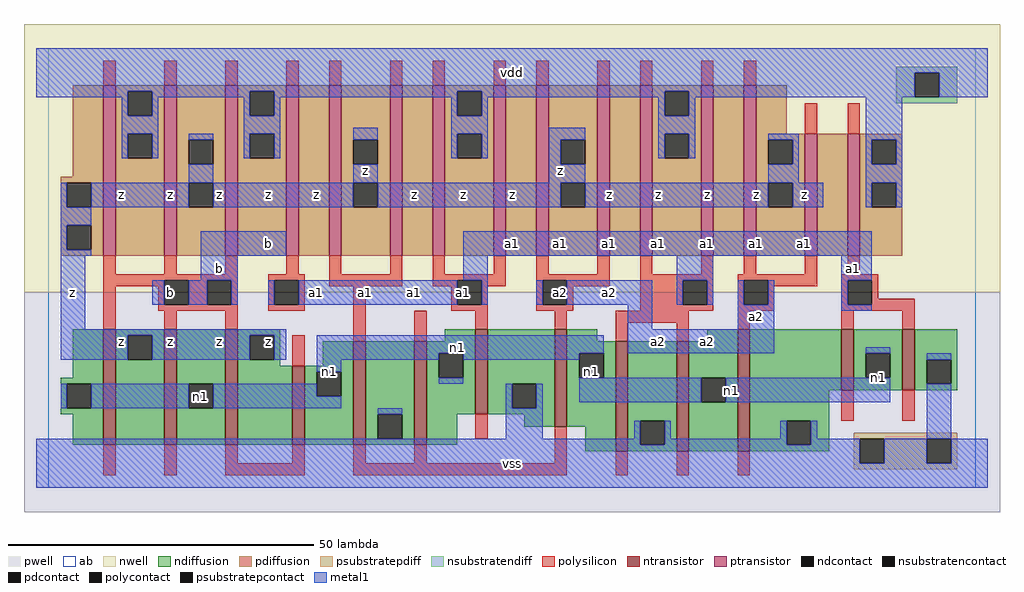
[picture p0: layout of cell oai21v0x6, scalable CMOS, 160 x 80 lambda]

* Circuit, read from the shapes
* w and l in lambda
.subckt oai21v0x6 a1 a2 b n1 vdd vss z
M1 z b n1 vss nfet w=19 l=2 m=3
M2 n1 b z vss nfet w=13 l=2
M3 vss a2 n1 vss nfet w=17 l=2 m=2
M4 vss a1 n1 vss nfet w=14 l=2
M5 n1 a2 vss vss nfet w=16 l=2
M6 vss a1 n1 vss nfet w=18 l=2 m=2
M7 vss a2 n1 vss nfet w=20 l=2
M8 n1 a1 vss vss nfet w=10 l=2 m=2
M9 vdd b z vdd pfet w=28 l=2 m=3
M10 n2 a1 vdd vdd pfet w=28 l=2
M11 z a2 n2 vdd pfet w=28 l=2
M12 n3 a2 z vdd pfet w=28 l=2
M13 vdd a1 n3 vdd pfet w=28 l=2
M14 n4 a1 vdd vdd pfet w=28 l=2
M15 z a2 n4 vdd pfet w=28 l=2
M16 n5 a2 z vdd pfet w=28 l=2
M17 vdd a1 n5 vdd pfet w=28 l=2
M18 n6 a1 vdd vdd pfet w=28 l=2
M19 z a2 n6 vdd pfet w=28 l=2
M20 n7 a2 z vdd pfet w=20 l=2
M21 vdd a1 n7 vdd pfet w=20 l=2
.ends

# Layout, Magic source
magic
tech scmos
<< ab >>
rect 0 0 152 72
<< pwell >>
rect -4 -4 156 32
<< nwell >>
rect -4 32 156 76
<< polysilicon >>
rect 9 66 11 70
rect 19 66 21 70
rect 29 66 31 70
rect 39 66 41 70
rect 46 66 48 70
rect 56 66 58 70
rect 63 66 65 70
rect 73 66 75 70
rect 80 66 82 70
rect 90 66 92 70
rect 97 66 99 70
rect 107 66 109 70
rect 114 66 116 70
rect 124 58 126 63
rect 131 58 133 63
rect 9 35 11 38
rect 19 35 21 38
rect 29 35 31 38
rect 39 35 41 38
rect 46 35 48 38
rect 56 35 58 38
rect 9 34 31 35
rect 9 33 19 34
rect 9 26 11 33
rect 18 30 19 33
rect 23 30 26 34
rect 30 30 31 34
rect 18 29 31 30
rect 36 34 42 35
rect 36 30 37 34
rect 41 30 42 34
rect 46 33 58 35
rect 63 35 65 38
rect 73 35 75 38
rect 63 34 75 35
rect 63 33 67 34
rect 36 29 42 30
rect 19 26 21 29
rect 29 26 31 29
rect 40 20 42 25
rect 50 24 52 33
rect 66 30 67 33
rect 71 33 75 34
rect 80 35 82 38
rect 90 35 92 38
rect 80 34 92 35
rect 71 30 72 33
rect 66 29 72 30
rect 80 30 81 34
rect 85 33 92 34
rect 97 35 99 38
rect 107 35 109 38
rect 114 35 116 38
rect 124 35 126 38
rect 131 35 133 38
rect 97 34 109 35
rect 85 30 86 33
rect 80 29 86 30
rect 97 30 104 34
rect 108 30 109 34
rect 97 29 109 30
rect 113 34 126 35
rect 113 30 114 34
rect 118 33 126 34
rect 130 34 136 35
rect 118 30 119 33
rect 113 29 119 30
rect 130 30 131 34
rect 135 31 136 34
rect 135 30 142 31
rect 130 29 142 30
rect 60 24 62 29
rect 70 26 72 29
rect 83 26 85 29
rect 93 27 105 29
rect 70 8 72 12
rect 93 24 95 27
rect 103 24 105 27
rect 113 26 115 29
rect 130 26 132 29
rect 140 26 142 29
rect 9 2 11 7
rect 19 2 21 7
rect 29 4 31 7
rect 40 4 42 7
rect 29 2 42 4
rect 50 4 52 7
rect 60 4 62 7
rect 83 4 85 10
rect 130 11 132 16
rect 140 11 142 16
rect 50 2 85 4
rect 93 2 95 6
rect 103 2 105 6
rect 113 2 115 6
<< ndiffusion >>
rect 4 18 9 26
rect 2 17 9 18
rect 2 13 3 17
rect 7 13 9 17
rect 2 12 9 13
rect 4 7 9 12
rect 11 25 19 26
rect 11 21 13 25
rect 17 21 19 25
rect 11 7 19 21
rect 21 17 29 26
rect 21 13 23 17
rect 27 13 29 17
rect 21 7 29 13
rect 31 25 38 26
rect 31 21 33 25
rect 37 21 38 25
rect 31 20 38 21
rect 65 24 70 26
rect 45 20 50 24
rect 31 7 40 20
rect 42 19 50 20
rect 42 15 44 19
rect 48 15 50 19
rect 42 7 50 15
rect 52 12 60 24
rect 52 8 54 12
rect 58 8 60 12
rect 52 7 60 8
rect 62 22 70 24
rect 62 18 64 22
rect 68 18 70 22
rect 62 12 70 18
rect 72 17 83 26
rect 72 13 76 17
rect 80 13 83 17
rect 72 12 83 13
rect 62 7 67 12
rect 78 10 83 12
rect 85 24 90 26
rect 108 24 113 26
rect 85 22 93 24
rect 85 18 87 22
rect 91 18 93 22
rect 85 10 93 18
rect 88 6 93 10
rect 95 11 103 24
rect 95 7 97 11
rect 101 7 103 11
rect 95 6 103 7
rect 105 18 113 24
rect 105 14 107 18
rect 111 14 113 18
rect 105 6 113 14
rect 115 16 130 26
rect 132 22 140 26
rect 132 18 134 22
rect 138 18 140 22
rect 132 16 140 18
rect 142 21 149 26
rect 142 17 144 21
rect 148 17 149 21
rect 142 16 149 17
rect 115 11 128 16
rect 115 7 121 11
rect 125 7 128 11
rect 115 6 128 7
<< pdiffusion >>
rect 4 51 9 66
rect 2 50 9 51
rect 2 46 3 50
rect 7 46 9 50
rect 2 43 9 46
rect 2 39 3 43
rect 7 39 9 43
rect 2 38 9 39
rect 11 65 19 66
rect 11 61 13 65
rect 17 61 19 65
rect 11 58 19 61
rect 11 54 13 58
rect 17 54 19 58
rect 11 38 19 54
rect 21 57 29 66
rect 21 53 23 57
rect 27 53 29 57
rect 21 50 29 53
rect 21 46 23 50
rect 27 46 29 50
rect 21 38 29 46
rect 31 65 39 66
rect 31 61 33 65
rect 37 61 39 65
rect 31 58 39 61
rect 31 54 33 58
rect 37 54 39 58
rect 31 38 39 54
rect 41 38 46 66
rect 48 57 56 66
rect 48 53 50 57
rect 54 53 56 57
rect 48 50 56 53
rect 48 46 50 50
rect 54 46 56 50
rect 48 38 56 46
rect 58 38 63 66
rect 65 65 73 66
rect 65 61 67 65
rect 71 61 73 65
rect 65 58 73 61
rect 65 54 67 58
rect 71 54 73 58
rect 65 38 73 54
rect 75 38 80 66
rect 82 57 90 66
rect 82 53 84 57
rect 88 53 90 57
rect 82 50 90 53
rect 82 46 84 50
rect 88 46 90 50
rect 82 38 90 46
rect 92 38 97 66
rect 99 65 107 66
rect 99 61 101 65
rect 105 61 107 65
rect 99 58 107 61
rect 99 54 101 58
rect 105 54 107 58
rect 99 38 107 54
rect 109 38 114 66
rect 116 58 121 66
rect 116 57 124 58
rect 116 53 118 57
rect 122 53 124 57
rect 116 50 124 53
rect 116 46 118 50
rect 122 46 124 50
rect 116 38 124 46
rect 126 38 131 58
rect 133 57 140 58
rect 133 53 135 57
rect 139 53 140 57
rect 133 50 140 53
rect 133 46 135 50
rect 139 46 140 50
rect 133 38 140 46
<< metal1 >>
rect -2 68 154 72
rect -2 65 142 68
rect -2 64 13 65
rect 12 61 13 64
rect 17 64 33 65
rect 17 61 18 64
rect 12 58 18 61
rect 32 61 33 64
rect 37 64 67 65
rect 37 61 38 64
rect 32 58 38 61
rect 66 61 67 64
rect 71 64 101 65
rect 71 61 72 64
rect 12 54 13 58
rect 17 54 18 58
rect 23 57 27 58
rect 32 54 33 58
rect 37 54 38 58
rect 50 57 54 59
rect 23 50 27 53
rect 66 58 72 61
rect 100 61 101 64
rect 105 64 142 65
rect 146 64 154 68
rect 105 61 106 64
rect 66 54 67 58
rect 71 54 72 58
rect 82 57 88 59
rect 50 50 54 53
rect 82 53 84 57
rect 100 58 106 61
rect 100 54 101 58
rect 105 54 106 58
rect 118 57 123 58
rect 82 50 88 53
rect 122 53 123 57
rect 118 50 123 53
rect 134 57 140 64
rect 134 53 135 57
rect 139 53 140 57
rect 134 50 140 53
rect 2 46 3 50
rect 7 46 23 50
rect 27 46 50 50
rect 54 46 84 50
rect 88 46 118 50
rect 122 46 127 50
rect 134 46 135 50
rect 139 46 140 50
rect 2 43 7 46
rect 2 39 3 43
rect 2 38 7 39
rect 25 38 39 42
rect 68 38 135 42
rect 2 26 6 38
rect 25 34 31 38
rect 68 34 72 38
rect 103 34 109 38
rect 130 34 135 38
rect 17 30 19 34
rect 23 30 26 34
rect 30 30 31 34
rect 36 30 37 34
rect 41 30 67 34
rect 71 30 72 34
rect 80 30 81 34
rect 85 30 99 34
rect 103 30 104 34
rect 108 30 109 34
rect 113 30 114 34
rect 118 30 119 34
rect 95 26 99 30
rect 113 26 119 30
rect 130 30 131 34
rect 130 29 135 30
rect 2 25 39 26
rect 2 21 13 25
rect 17 21 33 25
rect 37 21 39 25
rect 44 22 91 25
rect 95 22 119 26
rect 134 22 138 23
rect 44 21 64 22
rect 44 19 48 21
rect 2 13 3 17
rect 7 13 23 17
rect 27 15 44 17
rect 68 21 87 22
rect 64 17 68 18
rect 27 13 48 15
rect 75 13 76 17
rect 80 13 81 17
rect 87 14 107 18
rect 111 14 138 18
rect 144 21 148 22
rect 54 12 58 13
rect 75 8 81 13
rect 96 8 97 11
rect -2 7 97 8
rect 101 8 102 11
rect 120 8 121 11
rect 101 7 121 8
rect 125 8 126 11
rect 144 8 148 17
rect 125 7 133 8
rect -2 4 133 7
rect 137 4 144 8
rect 148 4 154 8
rect -2 0 154 4
<< ntransistor >>
rect 9 7 11 26
rect 19 7 21 26
rect 29 7 31 26
rect 40 7 42 20
rect 50 7 52 24
rect 60 7 62 24
rect 70 12 72 26
rect 83 10 85 26
rect 93 6 95 24
rect 103 6 105 24
rect 113 6 115 26
rect 130 16 132 26
rect 140 16 142 26
<< ptransistor >>
rect 9 38 11 66
rect 19 38 21 66
rect 29 38 31 66
rect 39 38 41 66
rect 46 38 48 66
rect 56 38 58 66
rect 63 38 65 66
rect 73 38 75 66
rect 80 38 82 66
rect 90 38 92 66
rect 97 38 99 66
rect 107 38 109 66
rect 114 38 116 66
rect 124 38 126 58
rect 131 38 133 58
<< polycontact >>
rect 19 30 23 34
rect 26 30 30 34
rect 37 30 41 34
rect 67 30 71 34
rect 81 30 85 34
rect 104 30 108 34
rect 114 30 118 34
rect 131 30 135 34
<< ndcontact >>
rect 3 13 7 17
rect 13 21 17 25
rect 23 13 27 17
rect 33 21 37 25
rect 44 15 48 19
rect 54 8 58 12
rect 64 18 68 22
rect 76 13 80 17
rect 87 18 91 22
rect 97 7 101 11
rect 107 14 111 18
rect 134 18 138 22
rect 144 17 148 21
rect 121 7 125 11
<< pdcontact >>
rect 3 46 7 50
rect 3 39 7 43
rect 13 61 17 65
rect 13 54 17 58
rect 23 53 27 57
rect 23 46 27 50
rect 33 61 37 65
rect 33 54 37 58
rect 50 53 54 57
rect 50 46 54 50
rect 67 61 71 65
rect 67 54 71 58
rect 84 53 88 57
rect 84 46 88 50
rect 101 61 105 65
rect 101 54 105 58
rect 118 53 122 57
rect 118 46 122 50
rect 135 53 139 57
rect 135 46 139 50
<< psubstratepcontact >>
rect 133 4 137 8
rect 144 4 148 8
<< nsubstratencontact >>
rect 142 64 146 68
<< psubstratepdiff >>
rect 132 8 149 9
rect 132 4 133 8
rect 137 4 144 8
rect 148 4 149 8
rect 132 3 149 4
<< nsubstratendiff >>
rect 139 68 149 69
rect 139 64 142 68
rect 146 64 149 68
rect 139 63 149 64
<< labels >>
rlabel metal1 20 24 20 24 6 z
rlabel metal1 12 24 12 24 6 z
rlabel metal1 4 32 4 32 6 z
rlabel polycontact 20 32 20 32 6 b
rlabel metal1 20 48 20 48 6 z
rlabel metal1 12 48 12 48 6 z
rlabel metal1 46 19 46 19 6 n1
rlabel ndcontact 25 15 25 15 6 n1
rlabel metal1 28 24 28 24 6 z
rlabel ndcontact 36 24 36 24 6 z
rlabel metal1 52 32 52 32 6 a1
rlabel metal1 44 32 44 32 6 a1
rlabel metal1 28 36 28 36 6 b
rlabel metal1 36 40 36 40 6 b
rlabel metal1 28 48 28 48 6 z
rlabel metal1 52 52 52 52 6 z
rlabel metal1 44 48 44 48 6 z
rlabel metal1 36 48 36 48 6 z
rlabel metal1 76 4 76 4 6 vss
rlabel ndcontact 89 19 89 19 6 n1
rlabel metal1 67 23 67 23 6 n1
rlabel polycontact 84 32 84 32 6 a2
rlabel polycontact 68 32 68 32 6 a1
rlabel metal1 60 32 60 32 6 a1
rlabel metal1 84 40 84 40 6 a1
rlabel metal1 76 40 76 40 6 a1
rlabel metal1 60 48 60 48 6 z
rlabel metal1 84 52 84 52 6 z
rlabel metal1 76 48 76 48 6 z
rlabel metal1 68 48 68 48 6 z
rlabel metal1 76 68 76 68 6 vdd
rlabel metal1 108 24 108 24 6 a2
rlabel metal1 100 24 100 24 6 a2
rlabel metal1 116 28 116 28 6 a2
rlabel metal1 92 32 92 32 6 a2
rlabel metal1 92 40 92 40 6 a1
rlabel metal1 116 40 116 40 6 a1
rlabel metal1 108 40 108 40 6 a1
rlabel metal1 100 40 100 40 6 a1
rlabel metal1 92 48 92 48 6 z
rlabel metal1 116 48 116 48 6 z
rlabel metal1 108 48 108 48 6 z
rlabel metal1 100 48 100 48 6 z
rlabel metal1 136 18 136 18 6 n1
rlabel metal1 112 16 112 16 6 n1
rlabel metal1 124 40 124 40 6 a1
rlabel metal1 132 36 132 36 6 a1
rlabel metal1 124 48 124 48 6 z
<< end >>
